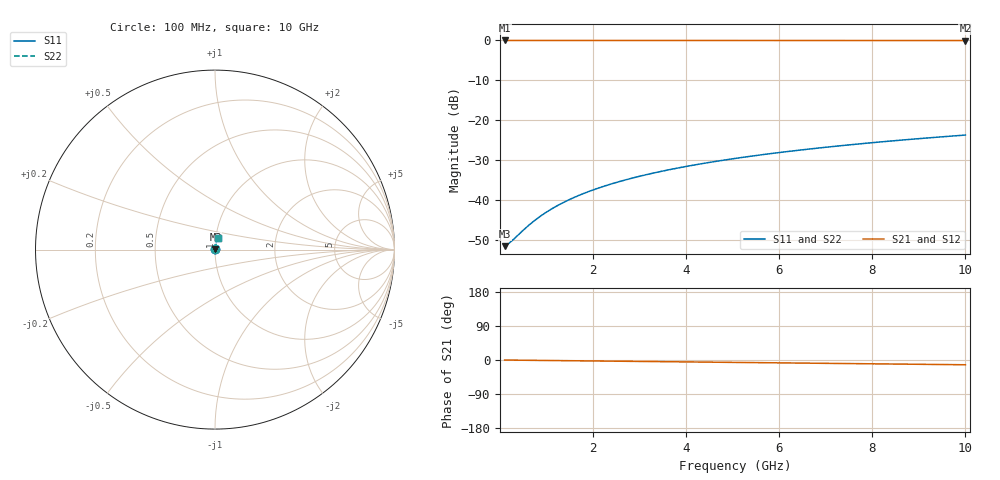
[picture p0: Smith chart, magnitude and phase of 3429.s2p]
# Hz S RI R 50.00
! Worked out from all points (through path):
!   100 points, 100 MHz to 10 GHz, reference 50 ohm
!   highest |S21| = -0.02 dB at 100 MHz (marker M1); lowest = 0.0 dB at 10 GHz (marker M2)
!   group delay of S21, straight-line fit = 3.49 ps
!   lowest |S11| = -51.5 dB at 100 MHz (marker M3), VSWR 1.01, Z = 50.3 + j0.0656 ohm
!   |S11| at or under -10 dB: start of sweep to end of sweep
!   |S22| runs from -51.5 to -23.7 dB; largest |S21 - S12| = 0
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1e8  0.00258 0.000653  0.9974 -0.00219  0.9974 -0.00219  0.00258 0.000653
2e8  0.0026 0.00131  0.9974 -0.00437  0.9974 -0.00437  0.0026 0.00131
3e8  0.00262 0.00196  0.9974 -0.00656  0.9974 -0.00656  0.00262 0.00196
5e8  0.00266 0.00326  0.9973 -0.0109  0.9973 -0.0109  0.00266 0.00326
7e8  0.0027 0.00457  0.9972 -0.0153  0.9972 -0.0153  0.0027 0.00457
8e8  0.00273 0.00522  0.9972 -0.0175  0.9972 -0.0175  0.00273 0.00522
1e9  0.00279 0.00652  0.9971 -0.0219  0.9971 -0.0219  0.00279 0.00652
1.2e9  0.00287 0.00783  0.9969 -0.0262  0.9969 -0.0262  0.00287 0.00783
1.4e9  0.00295 0.00913  0.9968 -0.0306  0.9968 -0.0306  0.00295 0.00913
1.6e9  0.00304 0.0104  0.9966 -0.035  0.9966 -0.035  0.00304 0.0104
1.8e9  0.00315 0.0117  0.9964 -0.0393  0.9964 -0.0393  0.00315 0.0117
2.1e9  0.00332 0.0137  0.9961 -0.0459  0.9961 -0.0459  0.00332 0.0137
2.5e9  0.0036 0.0163  0.9956 -0.0546  0.9956 -0.0546  0.0036 0.0163
2.9e9  0.00391 0.0189  0.9951 -0.0633  0.9951 -0.0633  0.00391 0.0189
3.4e9  0.00438 0.0221  0.9942 -0.0742  0.9942 -0.0742  0.00438 0.0221
4.2e9  0.00526 0.0272  0.9926 -0.0917  0.9926 -0.0917  0.00526 0.0272
5.1e9  0.00647 0.033  0.9904 -0.1112  0.9904 -0.1112  0.00647 0.033
5.9e9  0.00773 0.038  0.9881 -0.1286  0.9881 -0.1286  0.00773 0.038
6.7e9  0.00917 0.043  0.9854 -0.1459  0.9854 -0.1459  0.00917 0.043
7.5e9  0.0108 0.048  0.9824 -0.1631  0.9824 -0.1631  0.0108 0.048
8.4e9  0.0128 0.0535  0.9787 -0.1824  0.9787 -0.1824  0.0128 0.0535
1e10  0.017 0.0631  0.971 -0.2166  0.971 -0.2166  0.017 0.0631
